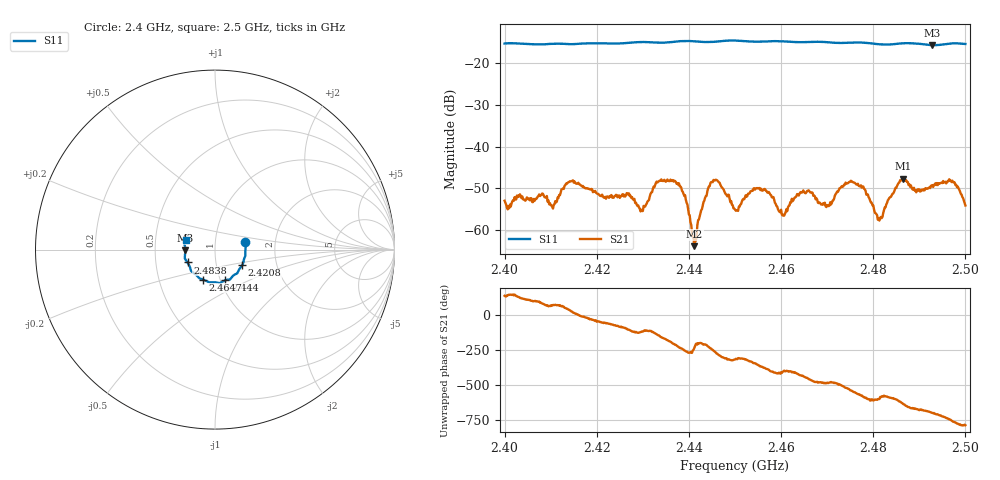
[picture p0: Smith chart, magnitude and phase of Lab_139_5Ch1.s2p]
# Hz S RI R 50
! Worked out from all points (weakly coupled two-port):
!   601 points, 2.4 GHz to 2.5 GHz, reference 50 ohm
!   highest |S21| = -47.65 dB at 2.4865 GHz (marker M1); lowest = -63.8 dB at 2.4412 GHz (marker M2)
!   lowest |S11| = -15.6 dB at 2.4928 GHz (marker M3), VSWR 1.40, Z = 35.8 - j0.363 ohm
!   |S11| at or under -10 dB: start of sweep to end of sweep
!   S12 and S22 are empty: the file has one direction only
!   S11 on the Smith chart (normalised r, x): 2.4 GHz: 1.40, +0.12; 2.4208 GHz: 1.33, -0.24; 2.444 GHz: 1.06, -0.37; 2.4647 GHz: 0.83, -0.29; 2.4838 GHz: 0.73, -0.11; 2.5 GHz: 0.72, +0.08
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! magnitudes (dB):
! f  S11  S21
! 2.4 GHz  -15.2  -52.9
! 2.4167 GHz  -15.3  -49.3
! 2.4208 GHz  -15.2  -51.8
! 2.4298 GHz  -14.9  -55.4
! 2.4333 GHz  -15.0  -48.4
! 2.438 GHz  -14.7  -49.5
! 2.4412 GHz  -14.7  -63.8
! 2.444 GHz  -14.9  -50.7
! 2.4462 GHz  -14.7  -48.1
! 2.45 GHz  -14.5  -55.0
! 2.4552 GHz  -14.8  -49.9
! 2.4607 GHz  -14.7  -56.5
! 2.4647 GHz  -14.9  -50.9
! 2.4667 GHz  -14.8  -50.9
! 2.4702 GHz  -14.9  -54.1
! 2.4757 GHz  -15.0  -48.5
! 2.4815 GHz  -15.4  -57.1
! 2.4833 GHz  -15.5  -52.6
! 2.4838 GHz  -15.4  -52.0
! 2.4865 GHz  -15.2  -47.6
! 2.4928 GHz  -15.6  -49.2
! 2.5 GHz  -15.3  -54.1
